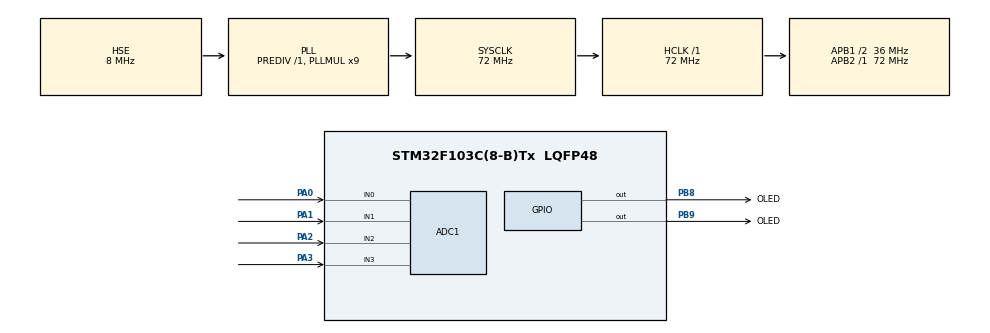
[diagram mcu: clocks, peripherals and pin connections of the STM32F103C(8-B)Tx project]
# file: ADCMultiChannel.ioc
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ADC1.Channel-0\#ChannelRegularConversion=ADC_CHANNEL_0
ADC1.Channel-1\#ChannelRegularConversion=ADC_CHANNEL_1
ADC1.Channel-2\#ChannelRegularConversion=ADC_CHANNEL_2
ADC1.Channel-3\#ChannelRegularConversion=ADC_CHANNEL_3
ADC1.DiscontinuousConvMode=ENABLE
ADC1.NbrOfConversion=4
ADC1.NbrOfConversionFlag=1
ADC1.Rank-0\#ChannelRegularConversion=1
ADC1.Rank-1\#ChannelRegularConversion=2
ADC1.Rank-2\#ChannelRegularConversion=3
ADC1.Rank-3\#ChannelRegularConversion=4
ADC1.SamplingTime-0\#ChannelRegularConversion=ADC_SAMPLETIME_7CYCLES_5
ADC1.SamplingTime-1\#ChannelRegularConversion=ADC_SAMPLETIME_7CYCLES_5
ADC1.SamplingTime-2\#ChannelRegularConversion=ADC_SAMPLETIME_7CYCLES_5
ADC1.SamplingTime-3\#ChannelRegularConversion=ADC_SAMPLETIME_7CYCLES_5
ADC1.master=1
Mcu.Family=STM32F1
Mcu.Name=STM32F103C(8-B)Tx
Mcu.Package=LQFP48
NVIC.PriorityGroup=NVIC_PRIORITYGROUP_4
PA0-WKUP.Signal=ADCx_IN0
PA1.Signal=ADCx_IN1
PA13.Mode=Serial_Wire
PA13.Signal=SYS_JTMS-SWDIO
PA14.Mode=Serial_Wire
PA14.Signal=SYS_JTCK-SWCLK
PA2.Signal=ADCx_IN2
PA3.Signal=ADCx_IN3
PB8.GPIO_Label=OLED
PB8.GPIO_ModeDefaultOutputPP=GPIO_MODE_OUTPUT_OD
PB8.GPIO_PuPd=GPIO_NOPULL
PB8.Signal=GPIO_Output
PB9.GPIO_Label=OLED
PB9.GPIO_ModeDefaultOutputPP=GPIO_MODE_OUTPUT_OD
PB9.GPIO_PuPd=GPIO_NOPULL
PB9.Signal=GPIO_Output
PD0-OSC_IN.Mode=HSE-External-Oscillator
PD0-OSC_IN.Signal=RCC_OSC_IN
PD1-OSC_OUT.Mode=HSE-External-Oscillator
PD1-OSC_OUT.Signal=RCC_OSC_OUT
ProjectManager.HeapSize=0x200
ProjectManager.StackSize=0x400
ProjectManager.TargetToolchain=CMake
RCC.ADCPresc=RCC_ADCPCLK2_DIV6
RCC.AHBFreq_Value=72000000
RCC.APB1CLKDivider=RCC_HCLK_DIV2
RCC.APB1Freq_Value=36000000
RCC.APB1TimFreq_Value=72000000
RCC.APB2Freq_Value=72000000
RCC.APB2TimFreq_Value=72000000
RCC.HCLKFreq_Value=72000000
RCC.PLLMUL=RCC_PLL_MUL9
RCC.PLLSourceVirtual=RCC_PLLSOURCE_HSE
RCC.SYSCLKFreq_VALUE=72000000
RCC.SYSCLKSource=RCC_SYSCLKSOURCE_PLLCLK
RCC.USBFreq_Value=72000000
SH.ADCx_IN0.0=ADC1_IN0,IN0
SH.ADCx_IN1.0=ADC1_IN1,IN1
SH.ADCx_IN2.0=ADC1_IN2,IN2
SH.ADCx_IN3.0=ADC1_IN3,IN3
board=custom

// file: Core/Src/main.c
/* USER CODE BEGIN Header */
/**
  ******************************************************************************
  * @file           : main.c
  * @brief          : Main program body
  ******************************************************************************
  * @attention
  *
  * Copyright (c) 2026 STMicroelectronics.
  * All rights reserved.
  *
  * This software is licensed under terms that can be found in the LICENSE file
  * in the root directory of this software component.
  * If no LICENSE file comes with this software, it is provided AS-IS.
  *
  ******************************************************************************
  */
/* USER CODE END Header */
#include "main.h"
#include "adc.h"
#include "gpio.h"

/* USER CODE BEGIN Includes */
#include "OLED.h"
/* USER CODE END Includes */

void SystemClock_Config(void);

int main(void)
{

  /* MCU Configuration--------------------------------------------------------*/

  /* Reset of all peripherals, Initializes the Flash interface and the Systick. */
  HAL_Init();

  /* Configure the system clock */
  SystemClock_Config();

  /* Initialize all configured peripherals */
  MX_GPIO_Init();
  MX_ADC1_Init();
  /* USER CODE BEGIN 2 */
  OLED_Init();
  OLED_ShowString(1,1,"V1:");
  OLED_ShowString(2,1,"V2:");
  OLED_ShowString(3,1,"V3:");
  OLED_ShowString(4,1,"V4:");

  uint32_t values[4] = {0};
  /* USER CODE END 2 */

  /* Infinite loop */
  /* USER CODE BEGIN WHILE */
  while (1)
  {
    // 打开ADC
    for (uint8_t i = 0; i < 4; i++) {
      // 开启ADC
      HAL_ADC_Start(&hadc1);
      if (HAL_ADC_PollForConversion(&hadc1, HAL_MAX_DELAY) == HAL_OK) {
        values[i] = HAL_ADC_GetValue(&hadc1);
      }
      OLED_ShowNum(1 , 5 , values[0] , 4);
      OLED_ShowNum(2 , 5 , values[1] , 4);
      OLED_ShowNum(3 , 5 , values[2] , 4);
      OLED_ShowNum(4 , 5 , values[3] , 4);
    }
    HAL_ADC_Stop(&hadc1);
    HAL_Delay(100);
    /* USER CODE END WHILE */

  }
}

void SystemClock_Config(void)
{
  RCC_OscInitTypeDef RCC_OscInitStruct = {0};
  RCC_ClkInitTypeDef RCC_ClkInitStruct = {0};
  RCC_PeriphCLKInitTypeDef PeriphClkInit = {0};

  /** Initializes the RCC Oscillators according to the specified parameters
  * in the RCC_OscInitTypeDef structure.
  */
  RCC_OscInitStruct.OscillatorType = RCC_OSCILLATORTYPE_HSE;
  RCC_OscInitStruct.HSEState = RCC_HSE_ON;
  RCC_OscInitStruct.HSEPredivValue = RCC_HSE_PREDIV_DIV1;
  RCC_OscInitStruct.HSIState = RCC_HSI_ON;
  RCC_OscInitStruct.PLL.PLLState = RCC_PLL_ON;
  RCC_OscInitStruct.PLL.PLLSource = RCC_PLLSOURCE_HSE;
  RCC_OscInitStruct.PLL.PLLMUL = RCC_PLL_MUL9;
  if (HAL_RCC_OscConfig(&RCC_OscInitStruct) != HAL_OK)
  {
    Error_Handler();
  }

  /** Initializes the CPU, AHB and APB buses clocks
  */
  RCC_ClkInitStruct.ClockType = RCC_CLOCKTYPE_HCLK|RCC_CLOCKTYPE_SYSCLK
                              |RCC_CLOCKTYPE_PCLK1|RCC_CLOCKTYPE_PCLK2;
  RCC_ClkInitStruct.SYSCLKSource = RCC_SYSCLKSOURCE_PLLCLK;
  RCC_ClkInitStruct.AHBCLKDivider = RCC_SYSCLK_DIV1;
  RCC_ClkInitStruct.APB1CLKDivider = RCC_HCLK_DIV2;
  RCC_ClkInitStruct.APB2CLKDivider = RCC_HCLK_DIV1;

  if (HAL_RCC_ClockConfig(&RCC_ClkInitStruct, FLASH_LATENCY_2) != HAL_OK)
  {
    Error_Handler();
  }
  PeriphClkInit.PeriphClockSelection = RCC_PERIPHCLK_ADC;
  PeriphClkInit.AdcClockSelection = RCC_ADCPCLK2_DIV6;
  if (HAL_RCCEx_PeriphCLKConfig(&PeriphClkInit) != HAL_OK)
  {
    Error_Handler();
  }
}

void Error_Handler(void)
{
  __disable_irq();
  while (1)
  {
  }
}
